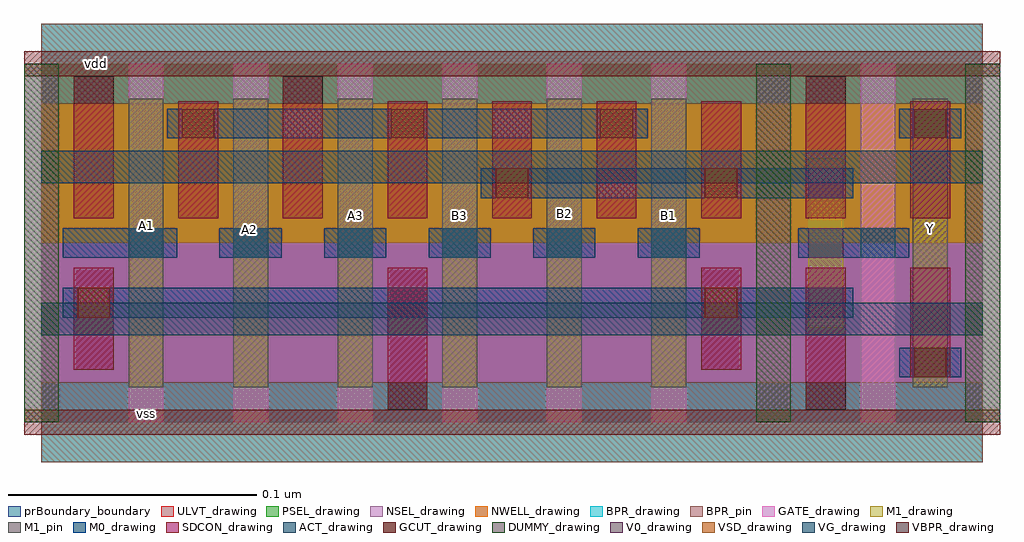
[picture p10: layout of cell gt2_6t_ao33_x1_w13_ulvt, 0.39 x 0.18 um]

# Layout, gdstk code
import gdstk
lib = gdstk.Library(unit=1e-6, precision=5e-10)
def R(c, l, rs):  # rectangles x0, y0, x1, y1
    for r in rs: c.add(gdstk.rectangle(r[:2], r[2:], *l))
def A(c, l, x, y, w, h, nx, ny, dx, dy):  # array of equal rectangles
    R(c, l, [(x+i*dx, y+j*dy, x+i*dx+w, y+j*dy+h) for i in range(nx) for j in range(ny)])
NWELL_drawing = (1, 0)
ACT_drawing = (2, 0)
GATE_drawing = (3, 0)
DUMMY_drawing = (4, 0)
GCUT_drawing = (5, 0)
NSEL_drawing = (6, 0)
PSEL_drawing = (7, 0)
BPR_drawing = (8, 0)
BPR_pin = (8, 251)
VBPR_drawing = (9, 0)
SDCON_drawing = (10, 0)
VSD_drawing = (11, 0)
VG_drawing = (12, 0)
M0_drawing = (20, 0)
V0_drawing = (22, 0)
M1_drawing = (25, 0)
M1_pin = (25, 251)
ULVT_drawing = (95, 0)
prBoundary_boundary = (235, 250)

gt2_6t_ao33_x1_w13_ulvt = lib.new_cell('gt2_6t_ao33_x1_w13_ulvt')
R(gt2_6t_ao33_x1_w13_ulvt, NWELL_drawing, [(0,0.072,0.378,0.144)])
R(gt2_6t_ao33_x1_w13_ulvt, ACT_drawing, [(0,0.035,0.378,0.048), (0,0.096,0.378,0.109)])
A(gt2_6t_ao33_x1_w13_ulvt, GATE_drawing, -0.007, 0, 0.014, 0.144, 10, 1, 0.042, 0)
R(gt2_6t_ao33_x1_w13_ulvt, DUMMY_drawing, [(-0.007,0,0.007,0.144), (0.287,0,0.301,0.144), (0.371,0,0.385,0.144)])
R(gt2_6t_ao33_x1_w13_ulvt, GCUT_drawing, [(-0.007,-0.005,0.385,0.005), (-0.007,0.139,0.385,0.149)])
R(gt2_6t_ao33_x1_w13_ulvt, NSEL_drawing, [(0,0,0.378,0.072)])
R(gt2_6t_ao33_x1_w13_ulvt, PSEL_drawing, [(0,0.072,0.378,0.144)])
R(gt2_6t_ao33_x1_w13_ulvt, BPR_drawing, [(0,-0.016,0.378,0.016), (0,0.128,0.378,0.16)])
R(gt2_6t_ao33_x1_w13_ulvt, BPR_pin, [(0,-0.016,0.378,0.016), (0,0.128,0.378,0.16)])
R(gt2_6t_ao33_x1_w13_ulvt, VBPR_drawing, [(0.139,0.005,0.155,0.016), (0.307,0.005,0.323,0.016), (0.013,0.128,0.029,0.139), (0.097,0.128,0.113,0.139), (0.307,0.128,0.323,0.139)])
A(gt2_6t_ao33_x1_w13_ulvt, SDCON_drawing, 0.139, 0.082, 0.016, 0.047, 4, 1, 0.042, 0)
R(gt2_6t_ao33_x1_w13_ulvt, SDCON_drawing, [(0.139,0.005,0.155,0.062), (0.307,0.005,0.323,0.062), (0.349,0.018,0.365,0.062), (0.013,0.021,0.029,0.062), (0.265,0.021,0.281,0.062), (0.013,0.082,0.029,0.139), (0.055,0.082,0.071,0.129), (0.097,0.082,0.113,0.139), (0.307,0.082,0.323,0.139), (0.349,0.082,0.365,0.129)])
A(gt2_6t_ao33_x1_w13_ulvt, VSD_drawing, 0.0565, 0.114, 0.013, 0.012, 3, 1, 0.084, 0)
R(gt2_6t_ao33_x1_w13_ulvt, VSD_drawing, [(0.3505,0.018,0.3635,0.03), (0.0145,0.042,0.0275,0.054), (0.2665,0.042,0.2795,0.054), (0.1825,0.09,0.1955,0.102), (0.2665,0.09,0.2795,0.102), (0.3505,0.114,0.3635,0.126)])
A(gt2_6t_ao33_x1_w13_ulvt, VG_drawing, 0.035, 0.066, 0.014, 0.012, 6, 1, 0.042, 0)
R(gt2_6t_ao33_x1_w13_ulvt, VG_drawing, [(0.329,0.066,0.343,0.078)])
A(gt2_6t_ao33_x1_w13_ulvt, M0_drawing, 0.0715, 0.066, 0.025, 0.012, 5, 1, 0.042, 0)
R(gt2_6t_ao33_x1_w13_ulvt, M0_drawing, [(0.3445,0.018,0.3695,0.03), (0.0085,0.042,0.326,0.054), (0.0085,0.066,0.0545,0.078), (0.304,0.066,0.3485,0.078), (0.1765,0.09,0.326,0.102), (0.0505,0.114,0.2435,0.126), (0.3445,0.114,0.3695,0.126)])
A(gt2_6t_ao33_x1_w13_ulvt, V0_drawing, 0.308, 0.042, 0.014, 0.012, 1, 3, 0, 0.024)
A(gt2_6t_ao33_x1_w13_ulvt, V0_drawing, 0.035, 0.066, 0.014, 0.012, 6, 1, 0.042, 0)
R(gt2_6t_ao33_x1_w13_ulvt, V0_drawing, [(0.35,0.018,0.364,0.03), (0.35,0.114,0.364,0.126)])
A(gt2_6t_ao33_x1_w13_ulvt, M1_drawing, 0.035, 0.014, 0.014, 0.116, 6, 1, 0.042, 0)
R(gt2_6t_ao33_x1_w13_ulvt, M1_drawing, [(0.35,0.014,0.364,0.13), (0.308,0.038,0.322,0.106)])
A(gt2_6t_ao33_x1_w13_ulvt, M1_pin, 0.035, 0.014, 0.014, 0.116, 6, 1, 0.042, 0)
R(gt2_6t_ao33_x1_w13_ulvt, M1_pin, [(0.35,0.014,0.364,0.13)])
R(gt2_6t_ao33_x1_w13_ulvt, ULVT_drawing, [(0,0,0.378,0.144)])
R(gt2_6t_ao33_x1_w13_ulvt, prBoundary_boundary, [(0,0,0.378,0.144)])
gt2_6t_ao33_x1_w13_ulvt.add(gdstk.Label('vdd', (0.022,0.144), layer=8, texttype=251))
gt2_6t_ao33_x1_w13_ulvt.add(gdstk.Label('vss', (0.042,0.0035), layer=8, texttype=251))
gt2_6t_ao33_x1_w13_ulvt.add(gdstk.Label('Y', (0.357,0.078), layer=25, texttype=251))
gt2_6t_ao33_x1_w13_ulvt.add(gdstk.Label('B2', (0.21,0.084), layer=25, texttype=251))
gt2_6t_ao33_x1_w13_ulvt.add(gdstk.Label('A2', (0.0835,0.0775), layer=25, texttype=251))
gt2_6t_ao33_x1_w13_ulvt.add(gdstk.Label('A1', (0.042,0.079), layer=25, texttype=251))
gt2_6t_ao33_x1_w13_ulvt.add(gdstk.Label('A3', (0.126,0.083), layer=25, texttype=251))
gt2_6t_ao33_x1_w13_ulvt.add(gdstk.Label('B1', (0.252,0.083), layer=25, texttype=251))
gt2_6t_ao33_x1_w13_ulvt.add(gdstk.Label('B3', (0.168,0.083), layer=25, texttype=251))

lib.write_gds('gt2_6t_ao33_x1_w13_ulvt.gds')
